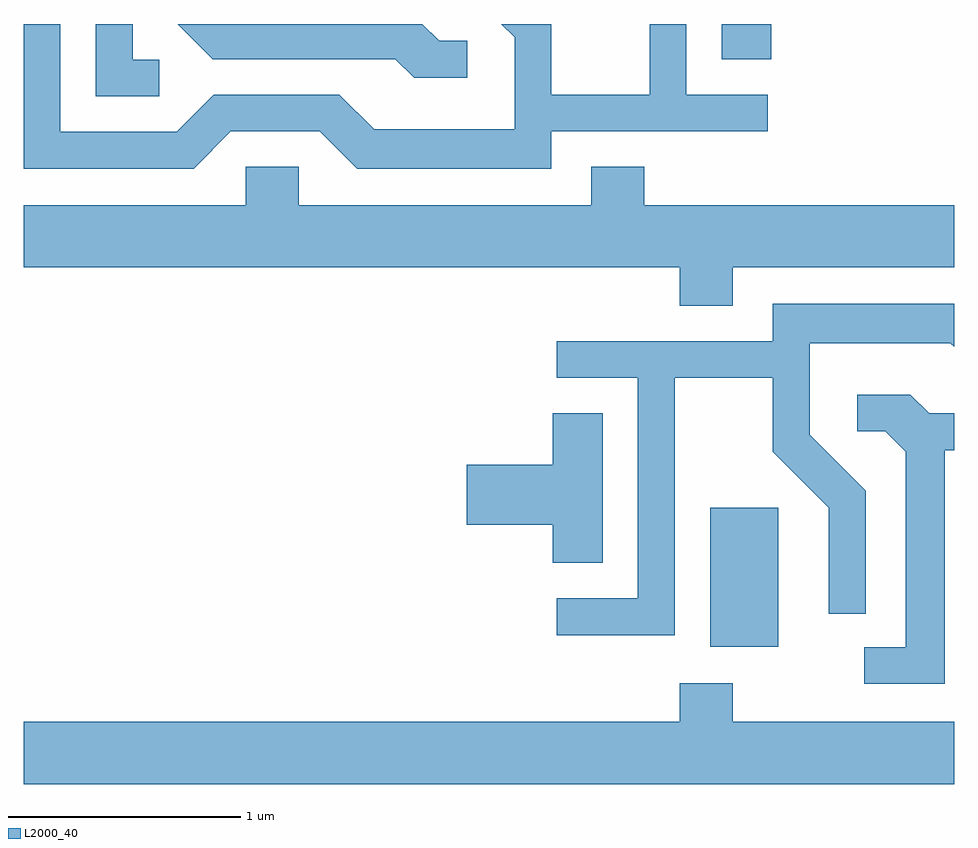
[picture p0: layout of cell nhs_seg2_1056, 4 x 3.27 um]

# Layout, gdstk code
import gdstk
lib = gdstk.Library(unit=1e-6, precision=1e-09)
def R(c, l, rs):  # rectangles x0, y0, x1, y1
    for r in rs: c.add(gdstk.rectangle(r[:2], r[2:], *l))
def P(c, l, *ps):  # polygons
    for p in ps: c.add(gdstk.Polygon(p, *l))
L2000_40 = (2000, 40)

nhs_seg2_1056 = lib.new_cell('nhs_seg2_1056')
R(nhs_seg2_1056, L2000_40, [(218.561,1051.126,218.854,1051.724), (218.611,1053.651,218.824,1053.802)])
P(nhs_seg2_1056, L2000_40, [(217.518,1053.729),(217.397,1053.729),(217.324,1053.802),(216.273,1053.802),(216.424,1053.651),(217.209,1053.651),(217.289,1053.571),(217.518,1053.571)],
  [(216.193,1053.649),(216.079,1053.649),(216.079,1053.802),(215.921,1053.802),(215.921,1053.491),(216.193,1053.491)],
  [(216.502,1053.341),(216.884,1053.341),(217.044,1053.181),(217.879,1053.181),(217.879,1053.341),(218.808,1053.341),(218.808,1053.499),(218.459,1053.499),(218.459,1053.802),(218.301,1053.802),(218.301,1053.499),(217.879,1053.499),(217.879,1053.802),(217.663,1053.802),(217.721,1053.744),(217.721,1053.349),(217.117,1053.349),(216.967,1053.499),(216.429,1053.499),(216.269,1053.339),(215.769,1053.339),(215.769,1053.802),(215.611,1053.802),(215.611,1053.181),(216.342,1053.181)],
  [(218.659,1052.756),(219.611,1052.756),(219.611,1053.024),(218.279,1053.024),(218.279,1053.189),(218.051,1053.189),(218.051,1053.024),(216.794,1053.024),(216.794,1053.189),(216.566,1053.189),(216.566,1053.024),(215.611,1053.024),(215.611,1052.756),(218.431,1052.756),(218.431,1052.591),(218.659,1052.591)],
  [(218.409,1052.281),(218.831,1052.281),(218.831,1051.964),(219.071,1051.724),(219.071,1051.268),(219.229,1051.268),(219.229,1051.797),(218.989,1052.037),(218.989,1052.431),(219.594,1052.431),(219.611,1052.414),(219.611,1052.599),(218.831,1052.599),(218.831,1052.439),(217.903,1052.439),(217.903,1052.281),(218.251,1052.281),(218.251,1051.334),(217.903,1051.334),(217.903,1051.176),(218.409,1051.176)],
  [(219.569,1051.971),(219.611,1051.971),(219.611,1052.129),(219.502,1052.129),(219.422,1052.209),(219.193,1052.209),(219.193,1052.051),(219.314,1052.051),(219.401,1051.964),(219.401,1051.124),(219.223,1051.124),(219.223,1050.966),(219.569,1050.966)],
  [(218.099,1052.129),(217.886,1052.129),(217.886,1051.909),(217.516,1051.909),(217.516,1051.651),(217.886,1051.651),(217.886,1051.486),(218.099,1051.486)],
  [(219.611,1050.804),(218.659,1050.804),(218.659,1050.969),(218.431,1050.969),(218.431,1050.804),(215.611,1050.804),(215.611,1050.536),(219.611,1050.536)])

lib.write_gds('nhs_seg2_1056.gds')
